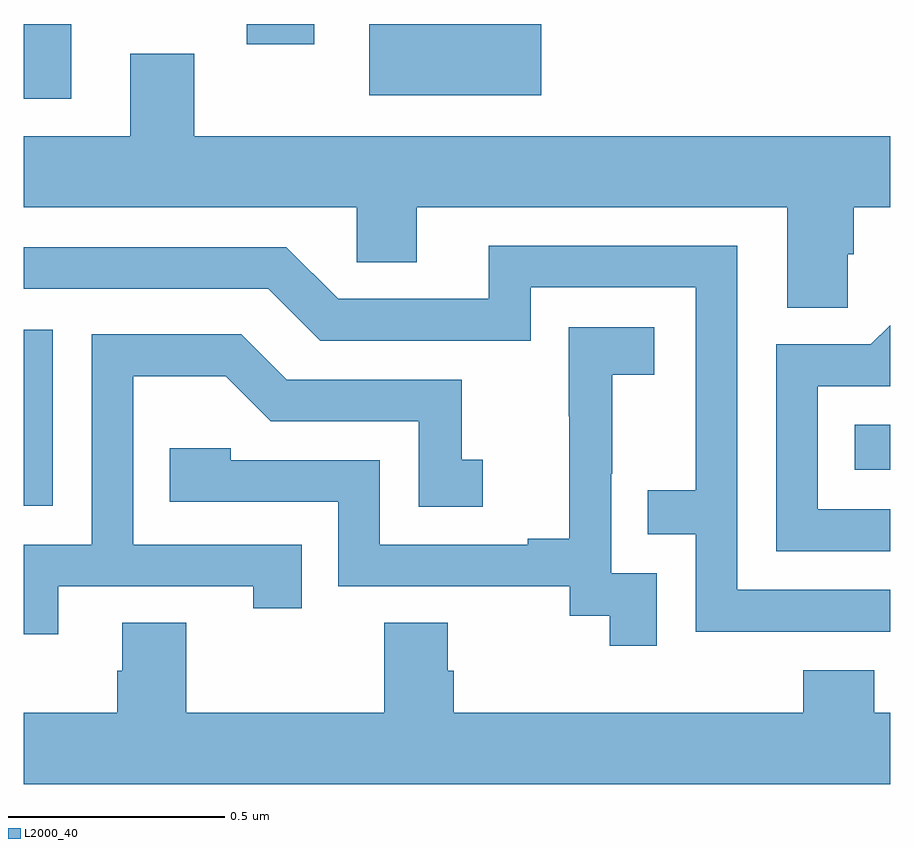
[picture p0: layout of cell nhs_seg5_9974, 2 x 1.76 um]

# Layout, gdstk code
import gdstk
lib = gdstk.Library(unit=1e-6, precision=1e-09)
def R(c, l, rs):  # rectangles x0, y0, x1, y1
    for r in rs: c.add(gdstk.rectangle(r[:2], r[2:], *l))
def P(c, l, *ps):  # polygons
    for p in ps: c.add(gdstk.Polygon(p, *l))
L2000_40 = (2000, 40)

nhs_seg5_9974 = lib.new_cell('nhs_seg5_9974')
R(nhs_seg5_9974, L2000_40, [(240,906.687,240.066,907.093), (241.918,906.77,242,906.874), (240,907.626,240.109,907.799), (240.797,907.634,241.195,907.799), (240.514,907.752,240.67,907.799)])
P(nhs_seg5_9974, L2000_40, [(241.902,907.267),(241.916,907.267),(241.916,907.376),(242,907.376),(242,907.54),(240.393,907.54),(240.393,907.73),(240.245,907.73),(240.245,907.54),(240,907.54),(240,907.376),(240.768,907.376),(240.768,907.249),(240.907,907.249),(240.907,907.376),(241.763,907.376),(241.763,907.144),(241.902,907.144)],
  [(242,906.492),(241.647,906.492),(241.647,907.287),(241.073,907.287),(241.073,907.164),(240.726,907.164),(240.606,907.284),(240,907.284),(240,907.188),(240.564,907.188),(240.684,907.068),(241.17,907.068),(241.17,907.191),(241.551,907.191),(241.551,906.722),(241.441,906.722),(241.441,906.621),(241.551,906.621),(241.551,906.396),(242,906.396)],
  [(242,906.678),(241.833,906.678),(241.833,906.963),(242,906.963),(242,907.103),(241.956,907.059),(241.737,907.059),(241.737,906.582),(242,906.582)],
  [(241.461,906.531),(241.356,906.531),(241.356,906.761),(241.358,906.761),(241.358,906.989),(241.456,906.989),(241.456,907.099),(241.258,907.099),(241.258,906.893),(241.259,906.893),(241.259,906.61),(241.163,906.61),(241.163,906.597),(240.822,906.597),(240.822,906.792),(240.477,906.792),(240.477,906.819),(240.337,906.819),(240.337,906.696),(240.726,906.696),(240.726,906.501),(241.26,906.501),(241.26,906.433),(241.353,906.433),(241.353,906.363),(241.461,906.363)],
  [(240.079,906.501),(240.53,906.501),(240.53,906.45),(240.641,906.45),(240.641,906.597),(240.252,906.597),(240.252,906.986),(240.466,906.986),(240.57,906.882),(240.912,906.882),(240.912,906.684),(241.06,906.684),(241.06,906.793),(241.011,906.793),(241.011,906.978),(240.607,906.978),(240.502,907.083),(240.156,907.083),(240.156,906.597),(240,906.597),(240,906.39),(240.079,906.39)],
  [(240.979,906.306),(240.979,906.416),(240.832,906.416),(240.832,906.208),(240.375,906.208),(240.375,906.416),(240.227,906.416),(240.227,906.306),(240.215,906.306),(240.215,906.208),(240,906.208),(240,906.044),(242,906.044),(242,906.208),(241.964,906.208),(241.964,906.307),(241.799,906.307),(241.799,906.208),(240.992,906.208),(240.992,906.306)])

lib.write_gds('nhs_seg5_9974.gds')
